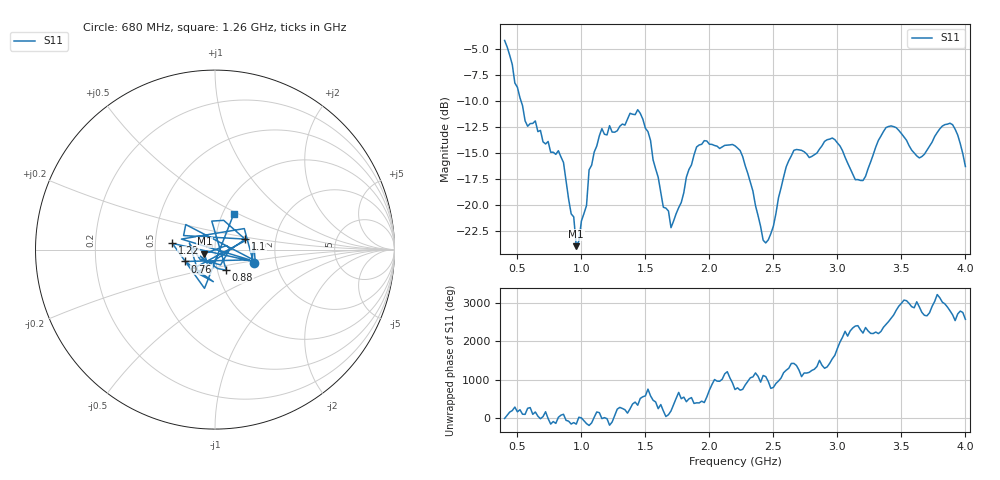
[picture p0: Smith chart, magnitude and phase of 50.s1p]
!Created with skrf (http://scikit-rf.org).
# Hz S RI R 50.0
!freq ReS11 ImS11
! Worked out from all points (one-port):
!   181 points, 400 MHz to 4 GHz, reference 50 ohm
!   lowest |S11| = -24.0 dB at 960 MHz (marker M1), VSWR 1.14, Z = 44.4 - j2 ohm
!   |S11| at or under -10 dB: 527.7 MHz to end of sweep
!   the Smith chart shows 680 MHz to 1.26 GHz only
!   S11 on the Smith chart (normalised r, x): 680 MHz: 1.53, -0.24; 760 MHz: 0.71, -0.10; 880 MHz: 1.10, -0.26; 1.1 GHz: 1.40, +0.17; 1.22 GHz: 0.61, +0.05; 1.26 GHz: 1.13, +0.47
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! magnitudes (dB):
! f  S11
! 400 MHz  -4.2
! 560 MHz  -11.9
! 680 MHz  -12.8
! 760 MHz  -14.9
! 860 MHz  -15.9
! 880 MHz  -17.7
! 960 MHz  -24.0
! 1.1 GHz  -14.9
! 1.22 GHz  -12.4
! 1.26 GHz  -13.0
! 1.3 GHz  -12.5
! 1.44 GHz  -10.9
! 1.54 GHz  -13.8
! 1.7 GHz  -22.2
! 1.76 GHz  -20.3
! 1.9 GHz  -14.4
! 2.2 GHz  -14.3
! 2.26 GHz  -15.4
! 2.44 GHz  -23.7
! 2.66 GHz  -14.8
! 2.96 GHz  -13.6
! 3.1 GHz  -16.5
! 3.2 GHz  -17.7
! 3.4 GHz  -12.5
! 3.56 GHz  -14.3
! 3.66 GHz  -15.4
! 3.88 GHz  -12.2
! 4 GHz  -16.3
